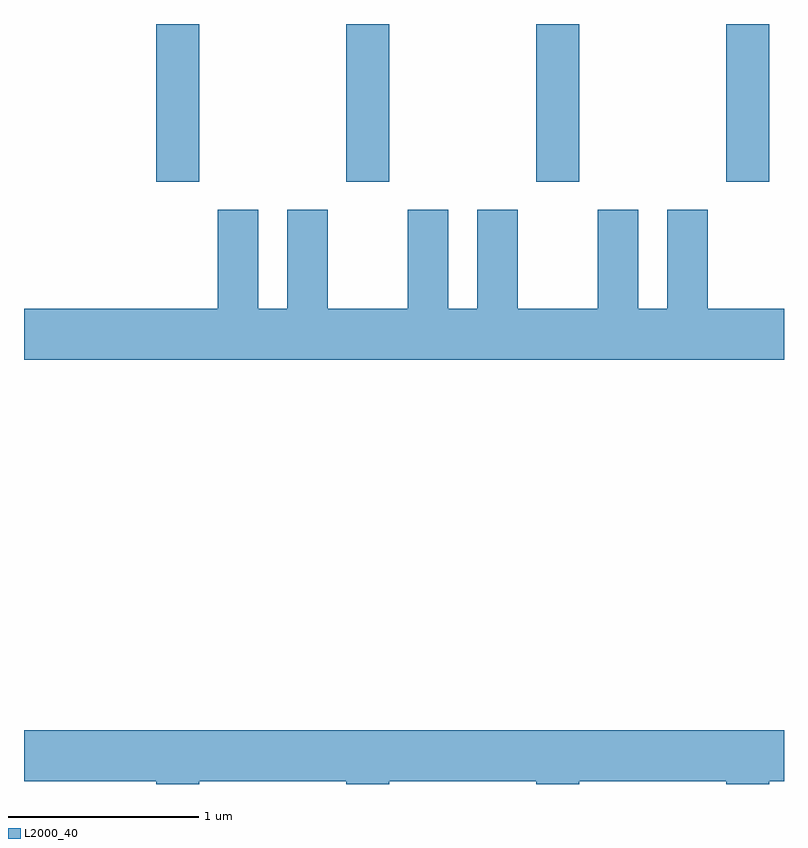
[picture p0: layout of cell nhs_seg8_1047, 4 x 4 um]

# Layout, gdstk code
import gdstk
lib = gdstk.Library(unit=1e-6, precision=1e-09)
def R(c, l, rs):  # rectangles x0, y0, x1, y1
    for r in rs: c.add(gdstk.rectangle(r[:2], r[2:], *l))
def A(c, l, x, y, w, h, nx, ny, dx, dy):  # array of equal rectangles
    R(c, l, [(x+i*dx, y+j*dy, x+i*dx+w, y+j*dy+h) for i in range(nx) for j in range(ny)])
def P(c, l, *ps):  # polygons
    for p in ps: c.add(gdstk.Polygon(p, *l))
L2000_40 = (2000, 40)

nhs_seg8_1047 = lib.new_cell('nhs_seg8_1047')
A(nhs_seg8_1047, L2000_40, 216.306, 1899.511, 0.228, 0.831, 4, 1, 1, 0)
P(nhs_seg8_1047, L2000_40, [(219.611,1898.844),(219.209,1898.844),(219.209,1899.364),(218.996,1899.364),(218.996,1898.844),(218.844,1898.844),(218.844,1899.364),(218.631,1899.364),(218.631,1898.844),(218.209,1898.844),(218.209,1899.364),(217.996,1899.364),(217.996,1898.844),(217.844,1898.844),(217.844,1899.364),(217.631,1899.364),(217.631,1898.844),(217.209,1898.844),(217.209,1899.364),(216.996,1899.364),(216.996,1898.844),(216.844,1898.844),(216.844,1899.364),(216.631,1899.364),(216.631,1898.844),(215.611,1898.844),(215.611,1898.576),(219.611,1898.576)],
  [(215.611,1896.356),(216.306,1896.356),(216.306,1896.342),(216.534,1896.342),(216.534,1896.356),(217.306,1896.356),(217.306,1896.342),(217.534,1896.342),(217.534,1896.356),(218.306,1896.356),(218.306,1896.342),(218.534,1896.342),(218.534,1896.356),(219.306,1896.356),(219.306,1896.342),(219.534,1896.342),(219.534,1896.356),(219.611,1896.356),(219.611,1896.624),(215.611,1896.624)])

lib.write_gds('nhs_seg8_1047.gds')
